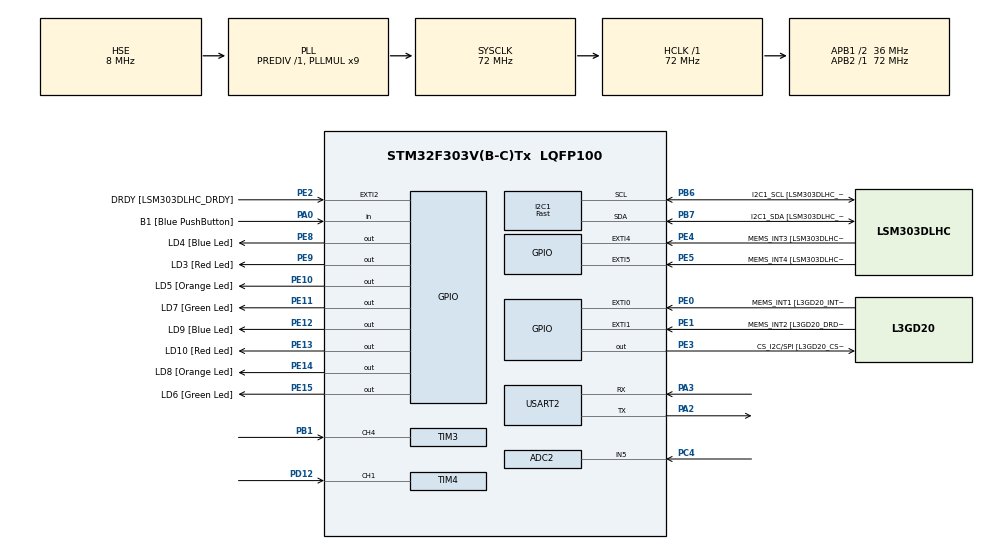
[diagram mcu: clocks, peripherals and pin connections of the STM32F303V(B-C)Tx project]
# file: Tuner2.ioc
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ADC2.AWD1ITMode=ENABLE
ADC2.Channel-0\#ChannelRegularConversion=ADC_CHANNEL_5
ADC2.ContinuousConvMode=ENABLE
ADC2.DMAContinuousRequests=ENABLE
ADC2.EnableAnalogWatchDog1=true
ADC2.EnableInjectedConversion=DISABLE
ADC2.NbrOfConversionFlag=1
ADC2.Offset-0\#ChannelRegularConversion=0
ADC2.OffsetNumber-0\#ChannelRegularConversion=ADC_OFFSET_NONE
ADC2.Rank-0\#ChannelRegularConversion=1
ADC2.SamplingTime-0\#ChannelRegularConversion=ADC_SAMPLETIME_601CYCLES_5
ADC2.WatchdogChannel=ADC_CHANNEL_5
Dma.ADC2.0.Direction=DMA_PERIPH_TO_MEMORY
Dma.ADC2.0.Instance=DMA2_Channel1
Dma.ADC2.0.MemDataAlignment=DMA_MDATAALIGN_HALFWORD
Dma.ADC2.0.MemInc=DMA_MINC_ENABLE
Dma.ADC2.0.Mode=DMA_CIRCULAR
Dma.ADC2.0.PeriphDataAlignment=DMA_PDATAALIGN_HALFWORD
Dma.ADC2.0.PeriphInc=DMA_PINC_DISABLE
Dma.ADC2.0.Priority=DMA_PRIORITY_LOW
Dma.Request0=ADC2
I2C1.I2C_Speed_Mode=I2C_Fast
I2C1.Timing=0x0000020B
Mcu.Family=STM32F3
Mcu.Name=STM32F303V(B-C)Tx
Mcu.Package=LQFP100
NVIC.DMA2_Channel1_IRQn=true\:0\:0\:false\:false\:true\:false\:true
NVIC.I2C1_ER_IRQn=true\:0\:2\:false\:false\:true\:true\:true
NVIC.I2C1_EV_IRQn=true\:1\:1\:true\:false\:true\:true\:true
NVIC.PriorityGroup=NVIC_PRIORITYGROUP_2
NVIC.TIM3_IRQn=true\:2\:0\:true\:false\:true\:true\:true
NVIC.TIM4_IRQn=true\:2\:1\:true\:false\:true\:true\:true
NVIC.USART2_IRQn=true\:1\:0\:true\:false\:true\:true\:true
PA0.GPIO_Label=B1 [Blue PushButton]
PA0.GPIO_Mode=GPIO_MODE_INPUT
PA0.GPIO_PuPd=GPIO_NOPULL
PA0.Signal=GPIO_Input
PA11.GPIO_Label=DM
PA11.Signal=USB_DM
PA12.GPIO_Label=DP
PA12.Signal=USB_DP
PA13.GPIO_Label=SWDIO
PA13.Signal=SYS_JTMS-SWDIO
PA14.GPIO_Label=SWCLK
PA14.Signal=SYS_JTCK-SWCLK
PA2.Mode=Asynchronous
PA2.Signal=USART2_TX
PA3.Mode=Asynchronous
PA3.Signal=USART2_RX
PA5.GPIO_Label=SPI1_SCK [L3GD20_SCL/SPC]
PA5.GPIO_Mode=GPIO_MODE_AF_PP
PA5.GPIO_PuPd=GPIO_NOPULL
PA5.GPIO_Speed=GPIO_SPEED_FREQ_LOW
PA5.Signal=SPI1_SCK
PA6.GPIO_Label=SPI1_MISO [L3GD20_SA0/SDO]
PA6.GPIO_Mode=GPIO_MODE_AF_PP
PA6.GPIO_PuPd=GPIO_NOPULL
PA6.GPIO_Speed=GPIO_SPEED_FREQ_LOW
PA6.Signal=SPI1_MISO
PA7.GPIO_Label=SPI1_MISO [L3GD20_SDA/SDI/SDO]
PA7.GPIO_Mode=GPIO_MODE_AF_PP
PA7.GPIO_PuPd=GPIO_NOPULL
PA7.GPIO_Speed=GPIO_SPEED_FREQ_LOW
PA7.Signal=SPI1_MOSI
PB1.Signal=S_TIM3_CH4
PB3.GPIO_Label=SWO
PB3.Signal=SYS_JTDO-TRACESWO
PB6.GPIO_FM6=__NULL
PB6.GPIO_Label=I2C1_SCL [LSM303DLHC_SCL]
PB6.GPIO_Mode=GPIO_MODE_AF_OD
PB6.GPIO_PuPd=GPIO_NOPULL
PB6.GPIO_Speed=GPIO_SPEED_FREQ_LOW
PB6.Mode=I2C
PB6.Signal=I2C1_SCL
PB7.GPIO_FM7=__NULL
PB7.GPIO_Label=I2C1_SDA [LSM303DLHC_SDA]
PB7.GPIO_Mode=GPIO_MODE_AF_OD
PB7.GPIO_PuPd=GPIO_NOPULL
PB7.GPIO_Speed=GPIO_SPEED_FREQ_LOW
PB7.Mode=I2C
PB7.Signal=I2C1_SDA
PC14-OSC32_IN.GPIO_Label=OSC32_IN
PC14-OSC32_IN.Signal=RCC_OSC32_IN
PC15-OSC32_OUT.GPIO_Label=OSC32_OUT
PC15-OSC32_OUT.Signal=RCC_OSC32_OUT
PC4.Mode=IN5-Single-Ended
PC4.Signal=ADC2_IN5
PD12.Signal=S_TIM4_CH1
PE0.GPIO_Label=MEMS_INT1 [L3GD20_INT1]
PE0.GPIO_ModeDefaultEXTI=GPIO_MODE_EVT_RISING
PE0.GPIO_PuPd=GPIO_NOPULL
PE0.Signal=GPXTI0
PE1.GPIO_Label=MEMS_INT2 [L3GD20_DRDY/INT2]
PE1.GPIO_ModeDefaultEXTI=GPIO_MODE_EVT_RISING
PE1.GPIO_PuPd=GPIO_NOPULL
PE1.Signal=GPXTI1
PE10.GPIO_Label=LD5 [Orange Led]
PE10.GPIO_ModeDefaultOutputPP=GPIO_MODE_OUTPUT_PP
PE10.GPIO_PuPd=GPIO_NOPULL
PE10.GPIO_Speed=GPIO_SPEED_FREQ_LOW
PE10.Signal=GPIO_Output
PE11.GPIO_Label=LD7 [Green Led]
PE11.GPIO_ModeDefaultOutputPP=GPIO_MODE_OUTPUT_PP
PE11.GPIO_PuPd=GPIO_NOPULL
PE11.GPIO_Speed=GPIO_SPEED_FREQ_LOW
PE11.Signal=GPIO_Output
PE12.GPIO_Label=LD9 [Blue Led]
PE12.GPIO_ModeDefaultOutputPP=GPIO_MODE_OUTPUT_PP
PE12.GPIO_PuPd=GPIO_NOPULL
PE12.GPIO_Speed=GPIO_SPEED_FREQ_LOW
PE12.Signal=GPIO_Output
PE13.GPIO_Label=LD10 [Red Led]
PE13.GPIO_ModeDefaultOutputPP=GPIO_MODE_OUTPUT_PP
PE13.GPIO_PuPd=GPIO_NOPULL
PE13.GPIO_Speed=GPIO_SPEED_FREQ_LOW
PE13.Signal=GPIO_Output
PE14.GPIO_Label=LD8 [Orange Led]
PE14.GPIO_ModeDefaultOutputPP=GPIO_MODE_OUTPUT_PP
PE14.GPIO_PuPd=GPIO_NOPULL
PE14.GPIO_Speed=GPIO_SPEED_FREQ_LOW
PE14.Signal=GPIO_Output
PE15.GPIO_Label=LD6 [Green Led]
PE15.GPIO_ModeDefaultOutputPP=GPIO_MODE_OUTPUT_PP
PE15.GPIO_PuPd=GPIO_NOPULL
PE15.GPIO_Speed=GPIO_SPEED_FREQ_LOW
PE15.Signal=GPIO_Output
PE2.GPIO_Label=DRDY [LSM303DLHC_DRDY]
PE2.GPIO_ModeDefaultEXTI=GPIO_MODE_EVT_RISING
PE2.GPIO_PuPd=GPIO_NOPULL
PE2.Signal=GPXTI2
PE3.GPIO_Label=CS_I2C/SPI [L3GD20_CS_I2C/SPI]
PE3.GPIO_ModeDefaultOutputPP=GPIO_MODE_OUTPUT_PP
PE3.GPIO_PuPd=GPIO_NOPULL
PE3.GPIO_Speed=GPIO_SPEED_FREQ_LOW
PE3.Signal=GPIO_Output
PE4.GPIO_Label=MEMS_INT3 [LSM303DLHC_INT1]
PE4.GPIO_ModeDefaultEXTI=GPIO_MODE_EVT_RISING
PE4.GPIO_PuPd=GPIO_NOPULL
PE4.Signal=GPXTI4
PE5.GPIO_Label=MEMS_INT4 [LSM303DLHC_INT2]
PE5.GPIO_ModeDefaultEXTI=GPIO_MODE_EVT_RISING
PE5.GPIO_PuPd=GPIO_NOPULL
PE5.Signal=GPXTI5
PE8.GPIO_Label=LD4 [Blue Led]
PE8.GPIO_ModeDefaultOutputPP=GPIO_MODE_OUTPUT_PP
PE8.GPIO_PuPd=GPIO_NOPULL
PE8.GPIO_Speed=GPIO_SPEED_FREQ_LOW
PE8.Signal=GPIO_Output
PE9.GPIO_Label=LD3 [Red Led]
PE9.GPIO_ModeDefaultOutputPP=GPIO_MODE_OUTPUT_PP
PE9.GPIO_PuPd=GPIO_NOPULL
PE9.GPIO_Speed=GPIO_SPEED_FREQ_LOW
PE9.Signal=GPIO_Output
PF0-OSC_IN.GPIO_Label=OSC_IN
PF0-OSC_IN.Mode=HSE-External-Clock-Source
PF0-OSC_IN.Signal=RCC_OSC_IN
PF1-OSC_OUT.GPIO_Label=OSC_OUT
PF1-OSC_OUT.Signal=RCC_OSC_OUT
ProjectManager.HeapSize=0x200
ProjectManager.StackSize=0x400
ProjectManager.TargetToolchain=MDK-ARM V5
RCC.ADC12PRES=RCC_ADC12PLLCLK_DIV4
RCC.AHBFreq_Value=72000000
RCC.APB1CLKDivider=RCC_HCLK_DIV2
RCC.APB1Freq_Value=36000000
RCC.APB1TimFreq_Value=72000000
RCC.APB2Freq_Value=72000000
RCC.APB2TimFreq_Value=72000000
RCC.CortexFreq_Value=72000000
RCC.HCLKFreq_Value=72000000
RCC.HSE_VALUE=8000000
RCC.HSI_VALUE=8000000
RCC.LSE_VALUE=32768
RCC.PLLMUL=RCC_PLL_MUL9
RCC.PLLSourceVirtual=RCC_PLLSOURCE_HSE
RCC.SYSCLKFreq_VALUE=72000000
RCC.SYSCLKSourceVirtual=RCC_SYSCLKSOURCE_PLLCLK
RCC.USBFreq_Value=72000000
SH.S_TIM3_CH4.0=TIM3_CH4,Input_Capture4_from_TI4
SH.S_TIM4_CH1.0=TIM4_CH1,Input_Capture1_from_TI1
TIM3.Channel-Input_Capture4_from_TI4=TIM_CHANNEL_4
TIM3.Period=31304
TIM3.Prescaler=20
TIM4.Channel-Input_Capture1_from_TI1=TIM_CHANNEL_1
TIM4.Period=300
TIM4.Prescaler=7200
USART2.VirtualMode-Asynchronous=VM_ASYNC
board=STM32F3DISCOVERY

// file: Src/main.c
/* USER CODE BEGIN Header */
/**
  ******************************************************************************
  * @file           : main.c
  * @brief          : Main program body
  ******************************************************************************
  * @attention
  *
  * <h2><center>&copy; Copyright (c) 2019 STMicroelectronics.
  * All rights reserved.</center></h2>
  *
  * This software component is licensed by ST under BSD 3-Clause license,
  * the "License"; You may not use this file except in compliance with the
  * License. You may obtain a copy of the License at:
  *                        opensource.org/licenses/BSD-3-Clause
  *
  ******************************************************************************
  */
/* USER CODE END Header */

#include "main.h"

/* USER CODE BEGIN Includes */
#include "hd44780.h"
#include "ffteval.h"
/* USER CODE END Includes */

ADC_HandleTypeDef hadc2;
DMA_HandleTypeDef hdma_adc2;

I2C_HandleTypeDef hi2c1;

TIM_HandleTypeDef htim3;
TIM_HandleTypeDef htim4;

UART_HandleTypeDef huart2;

/* USER CODE BEGIN PV */
LCD_PCF8574_HandleTypeDef lcd;

uint32_t value;
uint16_t _value;

extern const uint32_t FFT_SIZE;
/* USER CODE END PV */

void SystemClock_Config(void);
static void MX_GPIO_Init(void);
static void MX_DMA_Init(void);
static void MX_I2C1_Init(void);
static void MX_USART2_UART_Init(void);
static void MX_TIM3_Init(void);
static void MX_ADC2_Init(void);
static void MX_TIM4_Init(void);
/* USER CODE BEGIN PFP */

static void LCD_Initialize(void);
static void LCD_ShowCommand(char *command);

void HAL_TIM_PeriodElapsedCallback(TIM_HandleTypeDef *htim){
	if(htim->Instance == TIM3)
	{
		//tu przyjdzie wywolanie algorytmu FFT
		FFT_Test();
	}
}

/* USER CODE END PFP */

int main(void)
{

  /* MCU Configuration--------------------------------------------------------*/

  /* Reset of all peripherals, Initializes the Flash interface and the Systick. */
  HAL_Init();

  /* Configure the system clock */
  SystemClock_Config();

  /* Initialize all configured peripherals */
  MX_GPIO_Init();
  MX_DMA_Init();
  MX_I2C1_Init();
  MX_USART2_UART_Init();
  MX_TIM3_Init();
  MX_ADC2_Init();
  MX_TIM4_Init();
  /* USER CODE BEGIN 2 */
	//OPAMP on with calibration
	/*if (HAL_OPAMP_Start(&hopamp4) != HAL_OK)
	{
		Error_Handler();
	}
	HAL_OPAMP_SelfCalibrate(&hopamp4);*/

	//ADC on
	if (HAL_ADC_Start_DMA(&hadc2, &value, 1) != HAL_OK)
	{
		Error_Handler();
	}

	//LCD
	//LCD_Initialize();
	//LCD_ShowCommand("Init w porzo!");

  /* USER CODE END 2 */

  /* Infinite loop */
  while (1)
  {

  }
}

void SystemClock_Config(void)
{
  RCC_OscInitTypeDef RCC_OscInitStruct = {0};
  RCC_ClkInitTypeDef RCC_ClkInitStruct = {0};
  RCC_PeriphCLKInitTypeDef PeriphClkInit = {0};

  /** Initializes the CPU, AHB and APB busses clocks
  */
  RCC_OscInitStruct.OscillatorType = RCC_OSCILLATORTYPE_HSI|RCC_OSCILLATORTYPE_HSE;
  RCC_OscInitStruct.HSEState = RCC_HSE_BYPASS;
  RCC_OscInitStruct.HSEPredivValue = RCC_HSE_PREDIV_DIV1;
  RCC_OscInitStruct.HSIState = RCC_HSI_ON;
  RCC_OscInitStruct.HSICalibrationValue = RCC_HSICALIBRATION_DEFAULT;
  RCC_OscInitStruct.PLL.PLLState = RCC_PLL_ON;
  RCC_OscInitStruct.PLL.PLLSource = RCC_PLLSOURCE_HSE;
  RCC_OscInitStruct.PLL.PLLMUL = RCC_PLL_MUL9;
  if (HAL_RCC_OscConfig(&RCC_OscInitStruct) != HAL_OK)
  {
    Error_Handler();
  }
  /** Initializes the CPU, AHB and APB busses clocks
  */
  RCC_ClkInitStruct.ClockType = RCC_CLOCKTYPE_HCLK|RCC_CLOCKTYPE_SYSCLK
                              |RCC_CLOCKTYPE_PCLK1|RCC_CLOCKTYPE_PCLK2;
  RCC_ClkInitStruct.SYSCLKSource = RCC_SYSCLKSOURCE_PLLCLK;
  RCC_ClkInitStruct.AHBCLKDivider = RCC_SYSCLK_DIV1;
  RCC_ClkInitStruct.APB1CLKDivider = RCC_HCLK_DIV2;
  RCC_ClkInitStruct.APB2CLKDivider = RCC_HCLK_DIV1;

  if (HAL_RCC_ClockConfig(&RCC_ClkInitStruct, FLASH_LATENCY_2) != HAL_OK)
  {
    Error_Handler();
  }
  PeriphClkInit.PeriphClockSelection = RCC_PERIPHCLK_USART2|RCC_PERIPHCLK_I2C1
                              |RCC_PERIPHCLK_ADC12;
  PeriphClkInit.Usart2ClockSelection = RCC_USART2CLKSOURCE_PCLK1;
  PeriphClkInit.Adc12ClockSelection = RCC_ADC12PLLCLK_DIV4;
  PeriphClkInit.I2c1ClockSelection = RCC_I2C1CLKSOURCE_HSI;
  if (HAL_RCCEx_PeriphCLKConfig(&PeriphClkInit) != HAL_OK)
  {
    Error_Handler();
  }
}

static void MX_ADC2_Init(void)
{

  ADC_AnalogWDGConfTypeDef AnalogWDGConfig = {0};
  ADC_ChannelConfTypeDef sConfig = {0};

  /** Common config
  */
  hadc2.Instance = ADC2;
  hadc2.Init.ClockPrescaler = ADC_CLOCK_ASYNC_DIV1;
  hadc2.Init.Resolution = ADC_RESOLUTION_12B;
  hadc2.Init.ScanConvMode = ADC_SCAN_DISABLE;
  hadc2.Init.ContinuousConvMode = ENABLE;
  hadc2.Init.DiscontinuousConvMode = DISABLE;
  hadc2.Init.ExternalTrigConvEdge = ADC_EXTERNALTRIGCONVEDGE_NONE;
  hadc2.Init.ExternalTrigConv = ADC_SOFTWARE_START;
  hadc2.Init.DataAlign = ADC_DATAALIGN_RIGHT;
  hadc2.Init.NbrOfConversion = 1;
  hadc2.Init.DMAContinuousRequests = ENABLE;
  hadc2.Init.EOCSelection = ADC_EOC_SINGLE_CONV;
  hadc2.Init.LowPowerAutoWait = DISABLE;
  hadc2.Init.Overrun = ADC_OVR_DATA_OVERWRITTEN;
  if (HAL_ADC_Init(&hadc2) != HAL_OK)
  {
    Error_Handler();
  }
  /** Configure Analog WatchDog 1
  */
  AnalogWDGConfig.WatchdogNumber = ADC_ANALOGWATCHDOG_1;
  AnalogWDGConfig.WatchdogMode = ADC_ANALOGWATCHDOG_SINGLE_REG;
  AnalogWDGConfig.HighThreshold = 0;
  AnalogWDGConfig.LowThreshold = 0;
  AnalogWDGConfig.Channel = ADC_CHANNEL_5;
  AnalogWDGConfig.ITMode = ENABLE;
  if (HAL_ADC_AnalogWDGConfig(&hadc2, &AnalogWDGConfig) != HAL_OK)
  {
    Error_Handler();
  }
  /** Configure Regular Channel
  */
  sConfig.Channel = ADC_CHANNEL_5;
  sConfig.Rank = ADC_REGULAR_RANK_1;
  sConfig.SingleDiff = ADC_SINGLE_ENDED;
  sConfig.SamplingTime = ADC_SAMPLETIME_601CYCLES_5;
  sConfig.OffsetNumber = ADC_OFFSET_NONE;
  sConfig.Offset = 0;
  if (HAL_ADC_ConfigChannel(&hadc2, &sConfig) != HAL_OK)
  {
    Error_Handler();
  }

}

static void MX_I2C1_Init(void)
{

  hi2c1.Instance = I2C1;
  hi2c1.Init.Timing = 0x0000020B;
  hi2c1.Init.OwnAddress1 = 0;
  hi2c1.Init.AddressingMode = I2C_ADDRESSINGMODE_7BIT;
  hi2c1.Init.DualAddressMode = I2C_DUALADDRESS_DISABLE;
  hi2c1.Init.OwnAddress2 = 0;
  hi2c1.Init.OwnAddress2Masks = I2C_OA2_NOMASK;
  hi2c1.Init.GeneralCallMode = I2C_GENERALCALL_DISABLE;
  hi2c1.Init.NoStretchMode = I2C_NOSTRETCH_DISABLE;
  if (HAL_I2C_Init(&hi2c1) != HAL_OK)
  {
    Error_Handler();
  }
  /** Configure Analogue filter
  */
  if (HAL_I2CEx_ConfigAnalogFilter(&hi2c1, I2C_ANALOGFILTER_ENABLE) != HAL_OK)
  {
    Error_Handler();
  }
  /** Configure Digital filter
  */
  if (HAL_I2CEx_ConfigDigitalFilter(&hi2c1, 0) != HAL_OK)
  {
    Error_Handler();
  }

}

static void MX_TIM3_Init(void)
{

  TIM_MasterConfigTypeDef sMasterConfig = {0};
  TIM_IC_InitTypeDef sConfigIC = {0};

  htim3.Instance = TIM3;
  htim3.Init.Prescaler = 20;
  htim3.Init.CounterMode = TIM_COUNTERMODE_UP;
  htim3.Init.Period = 31304;
  htim3.Init.ClockDivision = TIM_CLOCKDIVISION_DIV1;
  htim3.Init.AutoReloadPreload = TIM_AUTORELOAD_PRELOAD_DISABLE;
  if (HAL_TIM_IC_Init(&htim3) != HAL_OK)
  {
    Error_Handler();
  }
  sMasterConfig.MasterOutputTrigger = TIM_TRGO_RESET;
  sMasterConfig.MasterSlaveMode = TIM_MASTERSLAVEMODE_DISABLE;
  if (HAL_TIMEx_MasterConfigSynchronization(&htim3, &sMasterConfig) != HAL_OK)
  {
    Error_Handler();
  }
  sConfigIC.ICPolarity = TIM_INPUTCHANNELPOLARITY_RISING;
  sConfigIC.ICSelection = TIM_ICSELECTION_DIRECTTI;
  sConfigIC.ICPrescaler = TIM_ICPSC_DIV1;
  sConfigIC.ICFilter = 0;
  if (HAL_TIM_IC_ConfigChannel(&htim3, &sConfigIC, TIM_CHANNEL_4) != HAL_OK)
  {
    Error_Handler();
  }

}

static void MX_TIM4_Init(void)
{

  TIM_MasterConfigTypeDef sMasterConfig = {0};
  TIM_IC_InitTypeDef sConfigIC = {0};

  htim4.Instance = TIM4;
  htim4.Init.Prescaler = 7200;
  htim4.Init.CounterMode = TIM_COUNTERMODE_UP;
  htim4.Init.Period = 300;
  htim4.Init.ClockDivision = TIM_CLOCKDIVISION_DIV1;
  htim4.Init.AutoReloadPreload = TIM_AUTORELOAD_PRELOAD_DISABLE;
  if (HAL_TIM_IC_Init(&htim4) != HAL_OK)
  {
    Error_Handler();
  }
  sMasterConfig.MasterOutputTrigger = TIM_TRGO_RESET;
  sMasterConfig.MasterSlaveMode = TIM_MASTERSLAVEMODE_DISABLE;
  if (HAL_TIMEx_MasterConfigSynchronization(&htim4, &sMasterConfig) != HAL_OK)
  {
    Error_Handler();
  }
  sConfigIC.ICPolarity = TIM_INPUTCHANNELPOLARITY_RISING;
  sConfigIC.ICSelection = TIM_ICSELECTION_DIRECTTI;
  sConfigIC.ICPrescaler = TIM_ICPSC_DIV1;
  sConfigIC.ICFilter = 0;
  if (HAL_TIM_IC_ConfigChannel(&htim4, &sConfigIC, TIM_CHANNEL_1) != HAL_OK)
  {
    Error_Handler();
  }

}

static void MX_USART2_UART_Init(void)
{

  huart2.Instance = USART2;
  huart2.Init.BaudRate = 38400;
  huart2.Init.WordLength = UART_WORDLENGTH_8B;
  huart2.Init.StopBits = UART_STOPBITS_1;
  huart2.Init.Parity = UART_PARITY_NONE;
  huart2.Init.Mode = UART_MODE_TX_RX;
  huart2.Init.HwFlowCtl = UART_HWCONTROL_NONE;
  huart2.Init.OverSampling = UART_OVERSAMPLING_16;
  huart2.Init.OneBitSampling = UART_ONE_BIT_SAMPLE_DISABLE;
  huart2.AdvancedInit.AdvFeatureInit = UART_ADVFEATURE_NO_INIT;
  if (HAL_UART_Init(&huart2) != HAL_OK)
  {
    Error_Handler();
  }

}

static void MX_DMA_Init(void)
{
  /* DMA controller clock enable */
  __HAL_RCC_DMA2_CLK_ENABLE();

  /* DMA interrupt init */
  /* DMA2_Channel1_IRQn interrupt configuration */
  HAL_NVIC_SetPriority(DMA2_Channel1_IRQn, 0, 0);
  HAL_NVIC_EnableIRQ(DMA2_Channel1_IRQn);

}

static void MX_GPIO_Init(void)
{
  GPIO_InitTypeDef GPIO_InitStruct = {0};

  /* GPIO Ports Clock Enable */
  __HAL_RCC_GPIOE_CLK_ENABLE();
  __HAL_RCC_GPIOC_CLK_ENABLE();
  __HAL_RCC_GPIOF_CLK_ENABLE();
  __HAL_RCC_GPIOA_CLK_ENABLE();
  __HAL_RCC_GPIOB_CLK_ENABLE();
  __HAL_RCC_GPIOD_CLK_ENABLE();

  /*Configure GPIO pin Output Level */
  HAL_GPIO_WritePin(GPIOE, CS_I2C_SPI_Pin|LD4_Pin|LD3_Pin|LD5_Pin
                          |LD7_Pin|LD9_Pin|LD10_Pin|LD8_Pin
                          |LD6_Pin, GPIO_PIN_RESET);

  /*Configure GPIO pins : DRDY_Pin MEMS_INT3_Pin MEMS_INT4_Pin MEMS_INT1_Pin
                           MEMS_INT2_Pin */
  GPIO_InitStruct.Pin = DRDY_Pin|MEMS_INT3_Pin|MEMS_INT4_Pin|MEMS_INT1_Pin
                          |MEMS_INT2_Pin;
  GPIO_InitStruct.Mode = GPIO_MODE_EVT_RISING;
  GPIO_InitStruct.Pull = GPIO_NOPULL;
  HAL_GPIO_Init(GPIOE, &GPIO_InitStruct);

  /*Configure GPIO pins : CS_I2C_SPI_Pin LD4_Pin LD3_Pin LD5_Pin
                           LD7_Pin LD9_Pin LD10_Pin LD8_Pin
                           LD6_Pin */
  GPIO_InitStruct.Pin = CS_I2C_SPI_Pin|LD4_Pin|LD3_Pin|LD5_Pin
                          |LD7_Pin|LD9_Pin|LD10_Pin|LD8_Pin
                          |LD6_Pin;
  GPIO_InitStruct.Mode = GPIO_MODE_OUTPUT_PP;
  GPIO_InitStruct.Pull = GPIO_NOPULL;
  GPIO_InitStruct.Speed = GPIO_SPEED_FREQ_LOW;
  HAL_GPIO_Init(GPIOE, &GPIO_InitStruct);

  /*Configure GPIO pin : B1_Pin */
  GPIO_InitStruct.Pin = B1_Pin;
  GPIO_InitStruct.Mode = GPIO_MODE_INPUT;
  GPIO_InitStruct.Pull = GPIO_NOPULL;
  HAL_GPIO_Init(B1_GPIO_Port, &GPIO_InitStruct);

  /*Configure GPIO pins : SPI1_SCK_Pin SPI1_MISO_Pin SPI1_MISOA7_Pin */
  GPIO_InitStruct.Pin = SPI1_SCK_Pin|SPI1_MISO_Pin|SPI1_MISOA7_Pin;
  GPIO_InitStruct.Mode = GPIO_MODE_AF_PP;
  GPIO_InitStruct.Pull = GPIO_NOPULL;
  GPIO_InitStruct.Speed = GPIO_SPEED_FREQ_LOW;
  GPIO_InitStruct.Alternate = GPIO_AF5_SPI1;
  HAL_GPIO_Init(GPIOA, &GPIO_InitStruct);

  /*Configure GPIO pins : DM_Pin DP_Pin */
  GPIO_InitStruct.Pin = DM_Pin|DP_Pin;
  GPIO_InitStruct.Mode = GPIO_MODE_AF_PP;
  GPIO_InitStruct.Pull = GPIO_NOPULL;
  GPIO_InitStruct.Speed = GPIO_SPEED_FREQ_HIGH;
  GPIO_InitStruct.Alternate = GPIO_AF14_USB;
  HAL_GPIO_Init(GPIOA, &GPIO_InitStruct);

}

/* USER CODE BEGIN 4 */

static void LCD_Initialize(void)
{
	lcd.pcf8574.PCF_I2C_ADDRESS = 7;
	lcd.pcf8574.PCF_I2C_TIMEOUT = 1000;
	lcd.pcf8574.i2c.Instance = I2C1;
	lcd.pcf8574.i2c.Init.Timing = 0x0000020B;
	lcd.NUMBER_OF_LINES = NUMBER_OF_LINES_2;
	lcd.type = TYPE0;

	if(LCD_Init(&lcd) != LCD_OK)
	{
		Error_Handler();
	}
}

static void LCD_ShowCommand(char *command)
{
	LCD_ClearDisplay(&lcd);
	LCD_SetLocation(&lcd,0,0);
	LCD_WriteString(&lcd, command);
}

/* USER CODE END 4 */

void Error_Handler(void)
{
}

/************************ (C) COPYRIGHT STMicroelectronics *****END OF FILE****/
